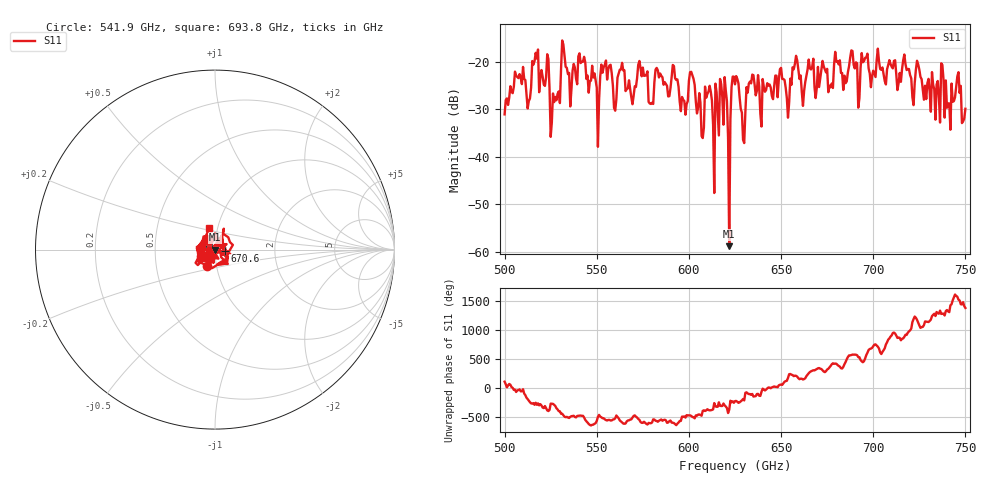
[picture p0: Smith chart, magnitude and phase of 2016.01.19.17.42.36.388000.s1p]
!Created with skrf (http://scikit-rf.org).
# GHz S RI R 50.0
!freq ReS11 ImS11
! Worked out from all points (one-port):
!   401 points, 500 GHz to 750 GHz, reference 50 ohm
!   lowest |S11| = -58.9 dB at 621.9 GHz (marker M1), VSWR 1.00, Z = 50.1 - j0.0169 ohm
!   |S11| at or under -10 dB: start of sweep to end of sweep
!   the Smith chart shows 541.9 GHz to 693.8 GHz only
!   S11 on the Smith chart (normalised r, x): 541.9 GHz: 0.90, -0.16; 670.6 GHz: 1.11, -0.02; 693.8 GHz: 0.91, +0.22
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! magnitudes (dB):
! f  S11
! 500 GHz  -31.1
! 506.9 GHz  -23.3
! 513.1 GHz  -28.3
! 516.9 GHz  -18.2
! 526.2 GHz  -26.7
! 531.2 GHz  -15.6
! 541.9 GHz  -20.1
! 550.6 GHz  -38.0
! 553.8 GHz  -21.2
! 560 GHz  -30.3
! 562.5 GHz  -21.7
! 579.4 GHz  -28.9
! 583.1 GHz  -21.8
! 593.8 GHz  -23.8
! 615 GHz  -26.4
! 618.1 GHz  -27.6
! 621.9 GHz  -58.9
! 625 GHz  -24.8
! 629.4 GHz  -36.5
! 633.8 GHz  -24.6
! 656.2 GHz  -21.2
! 670.6 GHz  -25.4
! 687.5 GHz  -19.2
! 693.8 GHz  -18.2
! 718.8 GHz  -21.6
! 741.2 GHz  -28.8
! 746.2 GHz  -22.2
! 750 GHz  -29.9
